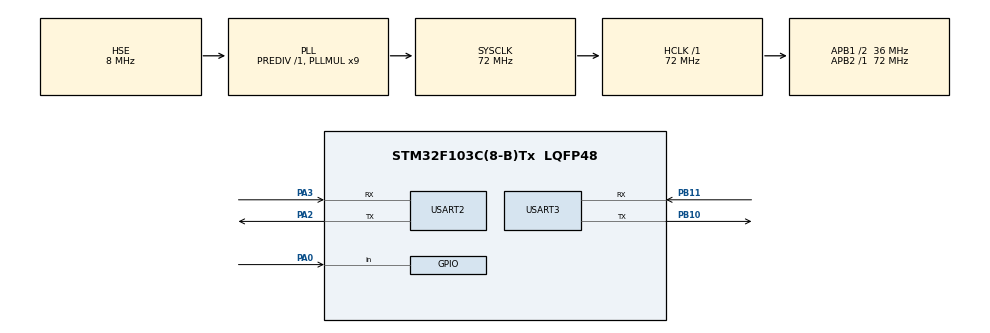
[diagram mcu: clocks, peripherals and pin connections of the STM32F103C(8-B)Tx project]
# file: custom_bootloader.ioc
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Mcu.Family=STM32F1
Mcu.Name=STM32F103C(8-B)Tx
Mcu.Package=LQFP48
NVIC.PriorityGroup=NVIC_PRIORITYGROUP_4
PA0-WKUP.GPIO_PuPd=GPIO_PULLUP
PA0-WKUP.Signal=GPIO_Input
PA13.Mode=Serial_Wire
PA13.Signal=SYS_JTMS-SWDIO
PA14.Mode=Serial_Wire
PA14.Signal=SYS_JTCK-SWCLK
PA2.Mode=Asynchronous
PA2.Signal=USART2_TX
PA3.Mode=Asynchronous
PA3.Signal=USART2_RX
PB10.Mode=Asynchronous
PB10.Signal=USART3_TX
PB11.Mode=Asynchronous
PB11.Signal=USART3_RX
PD0-OSC_IN.Mode=HSE-External-Oscillator
PD0-OSC_IN.Signal=RCC_OSC_IN
PD1-OSC_OUT.Mode=HSE-External-Oscillator
PD1-OSC_OUT.Signal=RCC_OSC_OUT
ProjectManager.HeapSize=0x200
ProjectManager.StackSize=0x400
ProjectManager.TargetToolchain=TrueSTUDIO
RCC.AHBFreq_Value=72000000
RCC.APB1CLKDivider=RCC_HCLK_DIV2
RCC.APB1Freq_Value=36000000
RCC.APB1TimFreq_Value=72000000
RCC.APB2Freq_Value=72000000
RCC.APB2TimFreq_Value=72000000
RCC.HCLKFreq_Value=72000000
RCC.PLLMUL=RCC_PLL_MUL9
RCC.PLLSourceVirtual=RCC_PLLSOURCE_HSE
RCC.SYSCLKFreq_VALUE=72000000
RCC.SYSCLKSource=RCC_SYSCLKSOURCE_PLLCLK
RCC.USBFreq_Value=72000000
USART2.VirtualMode=VM_ASYNC
USART3.VirtualMode=VM_ASYNC
VP_CRC_VS_CRC.Mode=CRC_Activate
board=custom

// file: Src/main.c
/* USER CODE BEGIN Header */
/**
  ******************************************************************************
  * @file           : main.c
  * @brief          : Main program body
  ******************************************************************************
  * @attention
  *
  * <h2><center>&copy; Copyright (c) 2020 STMicroelectronics.
  * All rights reserved.</center></h2>
  *
  * This software component is licensed by ST under BSD 3-Clause license,
  * the "License"; You may not use this file except in compliance with the
  * License. You may obtain a copy of the License at:
  *                        opensource.org/licenses/BSD-3-Clause
  *
  ******************************************************************************
  */
/* USER CODE END Header */

#include "main.h"

/* USER CODE BEGIN PD */

#define FLASH_PAGE7_BASE_ADDRESS 0x08001C00U		/*Interview question*/

/* USER CODE END PD */

/* USER CODE BEGIN PM */
#define C_UART &huart2	//command uart
#define D_UART &huart3	//Depug uart
#define BL_DEBUG_MSG_EN //enable Depug port

#define BL_RX_LEN 200
uint8_t BL_RX_BUFFER[BL_RX_LEN]; //to store all the command bytes sent by the bootloader

/* USER CODE END PM */

CRC_HandleTypeDef hcrc;

UART_HandleTypeDef huart2;
UART_HandleTypeDef huart3;

/* USER CODE BEGIN PV */

/* USER CODE END PM */

/* USER CODE BEGIN PV */
uint8_t supported_commands[8] = {
															 BL_GET_VER,
                               BL_GET_HELP,
                               BL_GET_CID,
                               BL_GET_RDP_STATUS,
                               BL_GO_TO_ADDR,
                               BL_FLASH_ERASE,
                               BL_MEM_WRITE,
															 BL_READ_SECTOR_STATUS} ;

/* USER CODE END PM */

/* USER CODE BEGIN PV */

/* USER CODE END PV */

void SystemClock_Config(void);
static void MX_GPIO_Init(void);
static void MX_USART2_UART_Init(void);
static void MX_CRC_Init(void);
static void MX_USART3_UART_Init(void);
/* USER CODE BEGIN PFP */

void go_to_bootloader();
void go_to_user_app();

/* USER CODE END PFP */

int main(void)
{

  /* MCU Configuration--------------------------------------------------------*/

  /* Reset of all peripherals, Initializes the Flash interface and the Systick. */
  HAL_Init();

  /* Configure the system clock */
  SystemClock_Config();

  /* Initialize all configured peripherals */
  MX_GPIO_Init();
  MX_USART2_UART_Init();
  MX_CRC_Init();
  MX_USART3_UART_Init();

  /* Infinite loop */
  /* USER CODE BEGIN WHILE */
  while (1)
  {

		HAL_UART_Transmit(D_UART,(uint8_t * ) "start bootloader\n" , 16, HAL_MAX_DELAY);

		if( HAL_GPIO_ReadPin(GPIOA,GPIO_PIN_0) == GPIO_PIN_RESET )
		{
			go_to_bootloader();
		}
		else
		{
			go_to_user_app();
		}

    /* USER CODE END WHILE */

  }
}

void SystemClock_Config(void)
{
  RCC_OscInitTypeDef RCC_OscInitStruct = {0};
  RCC_ClkInitTypeDef RCC_ClkInitStruct = {0};

  /** Initializes the CPU, AHB and APB busses clocks
  */
  RCC_OscInitStruct.OscillatorType = RCC_OSCILLATORTYPE_HSE;
  RCC_OscInitStruct.HSEState = RCC_HSE_ON;
  RCC_OscInitStruct.HSEPredivValue = RCC_HSE_PREDIV_DIV1;
  RCC_OscInitStruct.HSIState = RCC_HSI_ON;
  RCC_OscInitStruct.PLL.PLLState = RCC_PLL_ON;
  RCC_OscInitStruct.PLL.PLLSource = RCC_PLLSOURCE_HSE;
  RCC_OscInitStruct.PLL.PLLMUL = RCC_PLL_MUL9;
  if (HAL_RCC_OscConfig(&RCC_OscInitStruct) != HAL_OK)
  {
    Error_Handler();
  }
  /** Initializes the CPU, AHB and APB busses clocks
  */
  RCC_ClkInitStruct.ClockType = RCC_CLOCKTYPE_HCLK|RCC_CLOCKTYPE_SYSCLK
                              |RCC_CLOCKTYPE_PCLK1|RCC_CLOCKTYPE_PCLK2;
  RCC_ClkInitStruct.SYSCLKSource = RCC_SYSCLKSOURCE_PLLCLK;
  RCC_ClkInitStruct.AHBCLKDivider = RCC_SYSCLK_DIV1;
  RCC_ClkInitStruct.APB1CLKDivider = RCC_HCLK_DIV2;
  RCC_ClkInitStruct.APB2CLKDivider = RCC_HCLK_DIV1;

  if (HAL_RCC_ClockConfig(&RCC_ClkInitStruct, FLASH_LATENCY_2) != HAL_OK)
  {
    Error_Handler();
  }
}

static void MX_CRC_Init(void)
{

  hcrc.Instance = CRC;
  if (HAL_CRC_Init(&hcrc) != HAL_OK)
  {
    Error_Handler();
  }

}

static void MX_USART2_UART_Init(void)
{

  huart2.Instance = USART2;
  huart2.Init.BaudRate = 115200;
  huart2.Init.WordLength = UART_WORDLENGTH_8B;
  huart2.Init.StopBits = UART_STOPBITS_1;
  huart2.Init.Parity = UART_PARITY_NONE;
  huart2.Init.Mode = UART_MODE_TX_RX;
  huart2.Init.HwFlowCtl = UART_HWCONTROL_NONE;
  huart2.Init.OverSampling = UART_OVERSAMPLING_16;
  if (HAL_UART_Init(&huart2) != HAL_OK)
  {
    Error_Handler();
  }

}

static void MX_USART3_UART_Init(void)
{

  huart3.Instance = USART3;
  huart3.Init.BaudRate = 115200;
  huart3.Init.WordLength = UART_WORDLENGTH_8B;
  huart3.Init.StopBits = UART_STOPBITS_1;
  huart3.Init.Parity = UART_PARITY_NONE;
  huart3.Init.Mode = UART_MODE_TX_RX;
  huart3.Init.HwFlowCtl = UART_HWCONTROL_NONE;
  huart3.Init.OverSampling = UART_OVERSAMPLING_16;
  if (HAL_UART_Init(&huart3) != HAL_OK)
  {
    Error_Handler();
  }

}

static void MX_GPIO_Init(void)
{
  GPIO_InitTypeDef GPIO_InitStruct = {0};

  /* GPIO Ports Clock Enable */
  __HAL_RCC_GPIOD_CLK_ENABLE();
  __HAL_RCC_GPIOA_CLK_ENABLE();
  __HAL_RCC_GPIOB_CLK_ENABLE();

  /*Configure GPIO pin : PA0 */
  GPIO_InitStruct.Pin = GPIO_PIN_0;
  GPIO_InitStruct.Mode = GPIO_MODE_INPUT;
  GPIO_InitStruct.Pull = GPIO_PULLUP;
  HAL_GPIO_Init(GPIOA, &GPIO_InitStruct);

}

/* USER CODE BEGIN 4 */
/**
  * @brief Print Depugging result using depugging serial port -> huart3
  * @param message and values that you want to print
  * @retval None
  */
void send_msg(char* format,...)
{
	#ifdef BL_DEBUG_MSG_EN
	char str[80];
	va_list args;
	va_start(args,format);
	vsprintf(str,format,args);
	HAL_UART_Transmit(D_UART,(uint8_t *)str,strlen(str),HAL_MAX_DELAY);
	va_end(args);

	#endif
}
/************************** Implementation of bootloader command handle functions*************************/
/**
  * @brief send bootloader message using bootloaer serial port -> huart2
  * @param message and length
  * @retval None
  */
void BootLoader_UART_Write_Data(uint8_t *pbuffer, uint32_t length)
{
	HAL_UART_Transmit(C_UART,pbuffer,length,HAL_MAX_DELAY);
}

/**
  * @brief This function is called to handle the getversion command
  * @param message received on bootloader serial port
  * @retval None
  */
void BL_handle_getVersion_cmd(uint8_t* pbuffer)
{
	uint8_t BL_VER;
	uint8_t command_packet_length = pbuffer[0] + 1; // the command packet length size itself is 1 byte
	uint32_t host_crc = *((uint32_t * )(pbuffer + command_packet_length -4));

	send_msg("BL_DEBUG_MSG : BL_handle_getVersion_cmd running...\n");

	//verifying checksum
	if(!bootloader_verify_CRC(&pbuffer[0],command_packet_length - 4,host_crc))
	{
		send_msg("BL_DEBUG_MSG : CheckSum correct...\n");
		//checksum is correct
		bootloader_send_ack(pbuffer[0],1);//2nd argument is the length to follow and it's decided by the func itself
		BL_VER = get_bootloader_version();
		send_msg("BL_DEBUG_MSG : BootLoader Version : %d %x \n ",BL_VER,BL_VER);
		//sending reply to the host
		BootLoader_UART_Write_Data((uint8_t*)&BL_VER,sizeof(supported_commands));

	}
	else
		{
			send_msg("BL_DEBUG_MSG : CheckSum failed, sending NACK...\n");
			bootloader_send_nack();
		}
}

/**
  * @brief This function is called to handle the gethelp command
  * @param message received on bootloader serial port
  * @retval None
  */
void BL_handle_getHelp_cmd(uint8_t* pbuffer)
{
	uint32_t command_packet_length = BL_RX_BUFFER[0] + 0x01;
	uint32_t host_crc = *( (uint32_t * ) (BL_RX_BUFFER + command_packet_length -4) );
	send_msg("BL_DEBUG_MSG : BL_handle_getHelp_cmd running...\n");

	if(! bootloader_verify_CRC(BL_RX_BUFFER,(command_packet_length - 4),host_crc))
	{
		send_msg("BL_DEBUG_MSG : CheckSum correct...\n");
		//checksum is correct
		bootloader_send_ack(pbuffer[0],sizeof(supported_commands));//2nd argument is the length to follow and it's decided by the func itself
		//sending reply to the host
		BootLoader_UART_Write_Data(supported_commands,sizeof(supported_commands));
	}
	else
		{
			send_msg("BL_DEBUG_MSG : CheckSum failed, sending NACK...\n");
			bootloader_send_nack();
		}
}

/**
  * @brief This function is called to handle the getID command
  * @param message received on bootloader serial port
  * @retval None
  */
void BL_handle_getCID_cmd(uint8_t* pbuffer)
{
	uint32_t command_packet_length = BL_RX_BUFFER[0] + 0x01;
	uint32_t host_crc = *( (uint32_t * ) (BL_RX_BUFFER + command_packet_length -4) );
	send_msg("BL_DEBUG_MSG : BL_handle_getCID_cmd running...\n");
	uint16_t chip_id ;
	chip_id = (uint16_t)(DBGMCU->IDCODE) & 0xFFFF;
	if(! bootloader_verify_CRC(BL_RX_BUFFER,(command_packet_length - 4),host_crc))
	{
		send_msg("BL_DEBUG_MSG : CheckSum correct...\n");
		//checksum is correct
		bootloader_send_ack(pbuffer[0],2);//2nd argument is the length to follow and it's decided by the func itself
		//sending reply to the host
		BootLoader_UART_Write_Data((uint8_t *)&chip_id,sizeof(chip_id));
	}
	else
		{
			send_msg("BL_DEBUG_MSG : CheckSum failed, sending NACK...\n");
			bootloader_send_nack();
		}
}
/**
  * @brief This function is called to handle the "Get protection level" command
  * @param message received on bootloader serial port
  * @retval None
  */
void BL_handle_getRDP_cmd(uint8_t* pbuffer)
{
	uint8_t RDP_status ;
	uint32_t Command_packet_length = BL_RX_BUFFER[0]  + 0x01;
	uint32_t host_crc = *(uint32_t *) (BL_RX_BUFFER + Command_packet_length - 4 );
	send_msg("BL_DEBUG_MSG : BL_handle_getRDP_cmd running...\n");
	RDP_status = get_Read_protection();
	if( ! bootloader_verify_CRC(BL_RX_BUFFER , Command_packet_length - 4 , host_crc ))
	{
		send_msg("BL_DEBUG_MSG : CheckSum correct...\n");
		//checksum is correct
		bootloader_send_ack( pbuffer[0] , 1 );
		//send ACK
		BootLoader_UART_Write_Data((uint8_t * ) &RDP_status , sizeof(RDP_status ));
	}
	else
	{
			send_msg("BL_DEBUG_MSG : CheckSum failed, sending NACK...\n");
			bootloader_send_nack();
	}
}

/**
  * @brief BL_handle_goAddress_cmd
  * @param message buffer
  * @retval None
  */

void BL_handle_goAddress_cmd(uint8_t* pbuffer)
{
	uint8_t address_valid = ADDRESS_VALID;
	uint32_t gotoaddress = *(uint32_t*)&pbuffer[2];

	uint32_t Command_packet_length = BL_RX_BUFFER[0]  + 0x01;
	uint32_t host_crc = *(uint32_t *) (BL_RX_BUFFER + Command_packet_length - 4 );
	send_msg("BL_DEBUG_MSG : BL_handle_goAddress_cmd %#x\n",gotoaddress);

	if( ! bootloader_verify_CRC(BL_RX_BUFFER , Command_packet_length - 4 , host_crc ))
	{
		if(verify_address(gotoaddress) == ADDRESS_VALID)
		{
			 // tell the host that address is fine
			BootLoader_UART_Write_Data(&address_valid , 1);
			//jump to go_address, host must ensure that code is there
			gotoaddress += 1;	//make T bit = 1;
			void (*letsjumb)(void) = (void *) gotoaddress;
			send_msg("BL_DEBUG_MSG : Jumb to address correct...\n");
			//checksum is correct
			bootloader_send_ack( pbuffer[0] , 1 );//2nd argument is the length to follow and it's decided by the func itself
			//send ACK
		}
		else
		{
			address_valid = 0;
			BootLoader_UART_Write_Data(&address_valid , 1);
			send_msg("BL_DEBUG_MSG : Ivalid address...\n");
		}
	}
	else
	{
			send_msg("BL_DEBUG_MSG : CheckSum failed, sending NACK...\n");
			bootloader_send_nack();
	}
}
void BL_handle_flashErase_cmd(uint8_t* pbuffer)
{
	// In flash if you want to write something you should erase it first
	HAL_StatusTypeDef error ;
	uint32_t command_packet_length = BL_RX_BUFFER[0] + 0x01;
	uint32_t host_crc = *( (uint32_t * ) (BL_RX_BUFFER + command_packet_length -4) );
	send_msg("BL_DEBUG_MSG : BL_handle_flash_erase_cmd running...\n");

	if(! bootloader_verify_CRC(BL_RX_BUFFER,(command_packet_length - 4),host_crc))
	{
		send_msg("BL_DEBUG_MSG : CheckSum correct...\n");
		//checksum is correct
		bootloader_send_ack(pbuffer[0],1);
		//sending reply to the host
		uint32_t error_code ;
		FLASH_EraseInitTypeDef flash_erase_struct;
		flash_erase_struct.TypeErase = FLASH_TYPEERASE_PAGES;
		flash_erase_struct.PageAddress = FLASH_PAGE7_BASE_ADDRESS;	//erase app code
		flash_erase_struct.NbPages = (32 - 8);	//all remaining flash pages
		flash_erase_struct.Banks = FLASH_BANK_1;	//bank is applied when mass erase

		send_msg("BL_DEBUG_MSG : initial_Page: %d of %d pages...\n" , pbuffer[2] , pbuffer[3]);
		error = HAL_FLASHEx_Erase(&flash_erase_struct , &error_code);
		send_msg("BL_DEBUG_MSG: flash erase status: %#X\n",error);
		BootLoader_UART_Write_Data((uint8_t*)&error , 1);
	}
	else
		{
			send_msg("BL_DEBUG_MSG : CheckSum failed, sending NACK...\n");
			bootloader_send_nack();
		}
}
void BL_handle_memWrite_cmd(uint8_t* pbuffer)
{
	uint8_t address_valid = ADDRESS_VALID;
	uint8_t write_status = 0x00;
	uint8_t checksum = 0 , len = 0;
	len = pbuffer[0];
	uint8_t payload_len = pbuffer[6];
	uint32_t mem_address = *( (uint32_t *) ( &pbuffer[2]));
	checksum = pbuffer[len];	//recall len = length(pbuffer) - 1, as length byte not counted
	send_msg("BL_DEBUG_MSG:bootloader_handle_mem_write_cmd\n");

	//total length of the command packet
	uint32_t command_packet_len = BL_RX_BUFFER[0]+1;

	//extract the CRC32 sent by host
	uint32_t host_crc = *( (uint32_t*)  (BL_RX_BUFFER + command_packet_len - 4));
	if (! bootloader_verify_CRC(&BL_RX_BUFFER[0],command_packet_len-4,host_crc))
		{
				send_msg("BL_DEBUG_MSG:checksum success !!\n");
				bootloader_send_ack(pbuffer[0],1);
				send_msg("BL_DEBUG_MSG: mem write address : %#x\n",mem_address);
				if(verify_address(mem_address) == ADDRESS_VALID)
				{
						send_msg("BL_DEBUG_MSG: valid mem write address\n");
						write_status = execute_memory_write(&pbuffer[7] , mem_address , payload_len);
						// inform host about the status
						BootLoader_UART_Write_Data(&write_status , 1);
				}
				else
				{
            send_msg("BL_DEBUG_MSG: invalid mem write address\n");
            write_status = 0;
            //inform host that address is invalid
            BootLoader_UART_Write_Data(&write_status,1);
				}
		}
		else{
				send_msg("BL_DEBUG_MSG:checksum fail !!\n");
        bootloader_send_nack();
		}
}
void BL_handle_memRead_cmd(uint8_t* pbuffer)
{
		send_msg("BL_DEBUG_MSG:HAL library doesnot provide memRead function\n");
}

void go_to_bootloader()
{
	/* do somethig */
	HAL_UART_Transmit(&huart2 , (uint8_t *)"Inside bootloader code\r\n" , 24 , HAL_MAX_DELAY);
	uint8_t rcv_len=0;
	while(1)
	{
		/*The C library function void *memset(void *str, int c, size_t n) copies the character c (an unsigned char)
		to the first n characters of the string pointed to, by the argument str.*/
		memset(BL_RX_BUFFER,0,BL_RX_LEN);
		// we will read the command coming from the host and decode it
		//we will read the first byte which is the length of the command packet
		HAL_UART_Receive(C_UART,BL_RX_BUFFER,1,HAL_MAX_DELAY);
		rcv_len = BL_RX_BUFFER[0];
		HAL_UART_Receive(C_UART,&BL_RX_BUFFER[1],rcv_len,HAL_MAX_DELAY);
		switch(BL_RX_BUFFER[1])
		{
			case BL_GET_VER:
				BL_handle_getVersion_cmd(BL_RX_BUFFER);
				break;
			case BL_GET_HELP:
				BL_handle_getHelp_cmd(BL_RX_BUFFER);
				break;
			case BL_GET_CID:
				BL_handle_getCID_cmd(BL_RX_BUFFER);
				break;
			case BL_GET_RDP_STATUS:
				BL_handle_getRDP_cmd(BL_RX_BUFFER);
				break;
			case BL_GO_TO_ADDR:
				BL_handle_goAddress_cmd(BL_RX_BUFFER);
				break;
			case BL_FLASH_ERASE:
				BL_handle_flashErase_cmd(BL_RX_BUFFER);
				break;
			case BL_MEM_WRITE:
				BL_handle_memWrite_cmd(BL_RX_BUFFER);
				break;
//			case BL_MEM_READ:
//				BL_handle_memRead_cmd(BL_RX_BUFFER);
//				break;

			default:
				send_msg("BL_DEBUG_MSG: INVALID COMMAND CODE RECEIVED FROM THE HOST\r\n");
		}}

}
/**
  * @brief this function call the user app code from page 7 of flash
  * @param None
  * @retval None
  */
void go_to_user_app()
{
	void ( * user_app_code ) (void);//to hold the address of the reset handler of the user app
	HAL_UART_Transmit(&huart2 , (uint8_t *)"Go to user app\r\n" , 16 , HAL_MAX_DELAY);
	/* now get the value of main stack pointer from new address */
	uint32_t msp_value = *(volatile uint32_t *) FLASH_PAGE7_BASE_ADDRESS;
	__set_MSP(msp_value); /* set main stack pointer */

	uint32_t reset_handler_value = *(volatile uint32_t * ) (FLASH_PAGE7_BASE_ADDRESS + 4);
	user_app_code = (void *) (reset_handler_value) ;

	while(1)
	{
		user_app_code(); /* call user app */ ;
	}
}
///////////////////////////////////////////////////////////////////////////////////////////////
// project services

/**
  * @brief execute the memory write in half word mode
  * @param data to be written , address base and data len
  * @retval write status
  */
uint8_t execute_memory_write(uint8_t * pbuffer , uint32_t mem_address , uint32_t numberofbytes)
	{
	uint8_t status = HAL_OK;
	// perform memory erase before write
	uint32_t error_code ;
	FLASH_EraseInitTypeDef flash_erase_struct;
	flash_erase_struct.TypeErase = FLASH_TYPEERASE_PAGES;
	flash_erase_struct.PageAddress = FLASH_PAGE7_BASE_ADDRESS;	//erase app code
	flash_erase_struct.NbPages = (32 - 8);	//all remaining flash pages
	flash_erase_struct.Banks = FLASH_BANK_1;	//bank is applied when mass erase
	HAL_FLASHEx_Erase(&flash_erase_struct, &error_code);
	//unlock flash to get control of registers
	HAL_FLASH_Unlock();
	for(uint32_t i = 0 ; i < (numberofbytes / 2) + (numberofbytes % 2) ; i++)
	{
		//Here we program the flash byte by byte
		status = HAL_FLASH_Program(FLASH_TYPEPROGRAM_HALFWORD ,  mem_address + i * 2 , (uint16_t) pbuffer[i*2]);
	}
	HAL_FLASH_Lock();
	return status;
}

/**
  * @brief verify the address input
  * @param memory address to be executed
  * @retval true if valid, false if not valid
  */
uint8_t verify_address(uint32_t address)
{
	//	the valid memory addresses are: //
	//	system memory	-> yes
	//	sram1	-> yes
	//	sram2	-> yes
	//	backup sram	-> yes
	//	peripheral memory -> no
	//	external memory	-> yes
	if(address >= SRAM_BASE && address <= (SRAM_BASE + (96 * 1024)) )	//sizeof of flash is 96kbit
	{
		// address between SRAM start and SRAM end according to CM3 memory map
		return ADDRESS_VALID;
	}
	else if (address >= FLASH_BASE && address <=  0x08007FFF)
	{
		return ADDRESS_VALID;
	}
	else
		return 0;

}

/**
  * @brief Return the Read protectio of flash memory
  * @param None
  * @retval the value of read protection from the FLASH_OBP (Option byte register) register
  */
uint8_t get_Read_protection(void)
{
	return (uint8_t) ((FLASH ->OBR & FLASH_OBR_RDPRT_Msk) >> 1);
}

/**
  * @brief  this function sends ACK if the CRC matches with the lenght to follow
  * @param message received on bootloader serial port
  * @retval None
  */

void bootloader_send_ack(uint8_t command_code,uint8_t follow_length)
{
	uint8_t ack_buf[2] ;
	//we send 2 bytes ACK and length value
	ack_buf[0] = BL_ACK;
	ack_buf[1] =  follow_length;
	HAL_UART_Transmit(C_UART,ack_buf,2,HAL_MAX_DELAY);
}
/**
  * @brief this function sends NACK if the CRC matches with the lenght to follow
  * @param None
  * @retval None
  */
void bootloader_send_nack(void)
{
	uint8_t nack = BL_NACK;
	HAL_UART_Transmit(C_UART,&nack,1,HAL_MAX_DELAY);
}
//verifies the CRC of the given buffer in pData
/**
  * @brief checks the CRC of the pData over the length and compares it w ith the CRC_host
  * @param Data, length and CRC_host
  * @retval Success or failed
  */
uint8_t bootloader_verify_CRC(uint8_t * pData,uint32_t length,uint32_t CRC_host)
{
	uint32_t CRC_value = 0xff;
	uint32_t i;
	for(i=0;i<length;i++)
	{
		uint32_t data = pData[i];
		CRC_value = HAL_CRC_Accumulate(& hcrc,(uint32_t *)data,sizeof(data));
	}
	if(CRC_value == CRC_host)
	{
		return VERIFY_CRC_SUCCESS;
	}
	else
	{
		return VERIFY_CRC_FAILURE;
	}
}
/**
  * @brief Return the Bootloader version
  * @param None
  * @retval Bootloader version
  */
uint8_t get_bootloader_version(void)
{
	return BL_Version;
}

/* USER CODE END 4 */

void Error_Handler(void)
{
}

/************************ (C) COPYRIGHT STMicroelectronics *****END OF FILE****/
